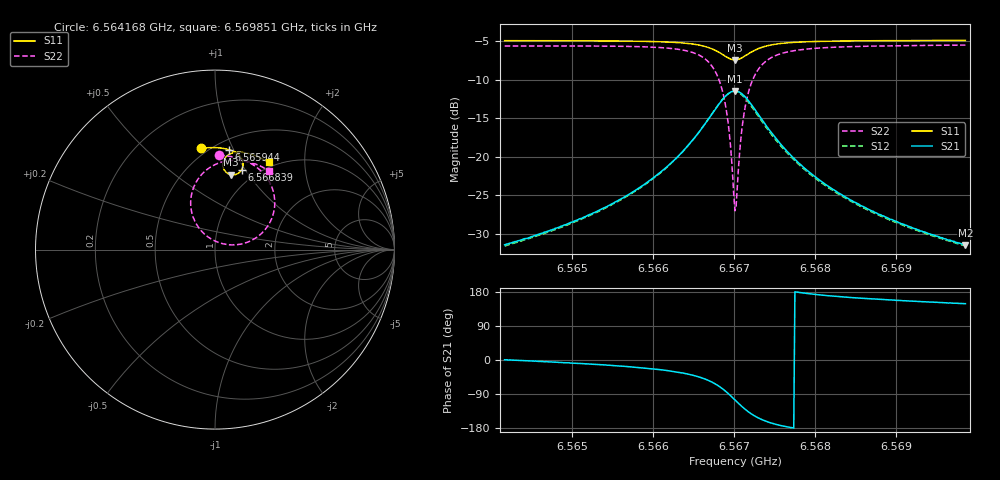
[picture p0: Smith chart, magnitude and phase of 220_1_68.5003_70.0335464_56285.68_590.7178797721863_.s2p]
#  HZ  S  RI  R  50.00
! Rohde & Schwarz Vector Network Analyzer
! Rohde-Schwarz,ZNB20-2Port,1311601062101988,3.16
! Created: UTC 3/20/2024, 4:58:23 PM
! freq[Hz]  re:S11  im:S11  re:S21  im:S21  re:S12  im:S12  re:S22  im:S22
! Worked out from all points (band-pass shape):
!   401 points, 6.564168 GHz to 6.569851 GHz, reference 50 ohm
!   highest |S21| = -11.43 dB at 6.56701 GHz (marker M1); lowest = -31.5 dB at 6.569851 GHz (marker M2)
!   |S21| within 3 dB of the highest: 6.566725 GHz to 6.567293 GHz (568 kHz wide, 0.00865 % of centre)
!   lowest |S11| = -7.4 dB at 6.56701 GHz (marker M3), VSWR 2.49, Z = 40.6 + j41.5 ohm
!   |S11| at or under -10 dB: nowhere
!   |S22| runs from -27.0 to -5.5 dB; largest |S21 - S12| = 0.013
!   S11 on the Smith chart (normalised r, x): 6.564168 GHz: 0.46, +0.76; 6.565944 GHz: 0.59, +0.96; 6.566839 GHz: 0.84, +0.96; 6.569851 GHz: 0.93, +1.34
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6.5641682e9  -0.0771 0.5639  0.0268 0.000293  0.0263 -0.00016  0.0223 0.5252
6.5651201e9  0.000215 0.5682  0.0393 -0.00659  0.0388 -0.00714  0.1104 0.5141
6.5659441e9  0.0753 0.5576  0.0642 -0.0261  0.0631 -0.027  0.2118 0.4726
6.5660719e9  0.0885 0.5534  0.0706 -0.0332  0.0695 -0.034  0.2322 0.4585
6.5663703e9  0.1217 0.5363  0.0899 -0.0619  0.0884 -0.0632  0.288 0.4016
6.5665976e9  0.1477 0.5077  0.1041 -0.1115  0.1018 -0.1136  0.329 0.306
6.5667396e9  0.1564 0.4752  0.0975 -0.1686  0.0933 -0.1716  0.3241 0.197
6.5668391e9  0.1483 0.4449  0.0662 -0.2205  0.0591 -0.2231  0.269 0.1
6.5668817e9  0.1386 0.4322  0.0411 -0.2412  0.0322 -0.243  0.2232 0.0623
6.5669243e9  0.1245 0.4222  0.00832 -0.2567  -0.00203 -0.2568  0.1634 0.0353
6.5669954e9  0.094 0.4166  -0.0578 -0.2613  -0.069 -0.2569  0.045 0.0323
6.5670096e9  0.0878 0.4176  -0.0715 -0.2584  -0.0823 -0.2527  0.0217 0.0391
6.5670238e9  0.0815 0.4193  -0.0847 -0.2539  -0.0951 -0.2475  -0.000896 0.0483
6.567038e9  0.0756 0.4217  -0.0971 -0.2485  -0.1071 -0.241  -0.0222 0.0596
6.5670806e9  0.0602 0.4325  -0.13 -0.2254  -0.1378 -0.2157  -0.0763 0.1044
6.5671232e9  0.0498 0.4469  -0.1536 -0.196  -0.1587 -0.1856  -0.1124 0.1586
6.5671801e9  0.0437 0.4676  -0.17 -0.155  -0.172 -0.1447  -0.1339 0.2323
6.5672653e9  0.0473 0.4947  -0.1716 -0.1019  -0.1704 -0.0934  -0.1267 0.3247
6.567521e9  0.0864 0.5343  -0.1285 -0.0221  -0.1257 -0.0185  -0.0293 0.4569
6.5679614e9  0.145 0.5427  -0.0764 0.00818  -0.0746 0.00927  0.0922 0.4976
6.5689133e9  0.2313 0.5204  -0.037 0.0144  -0.0361 0.0147  0.2216 0.4781
6.569851e9  0.2996 0.4861  -0.0228 0.0139  -0.0224 0.014  0.301 0.4399
